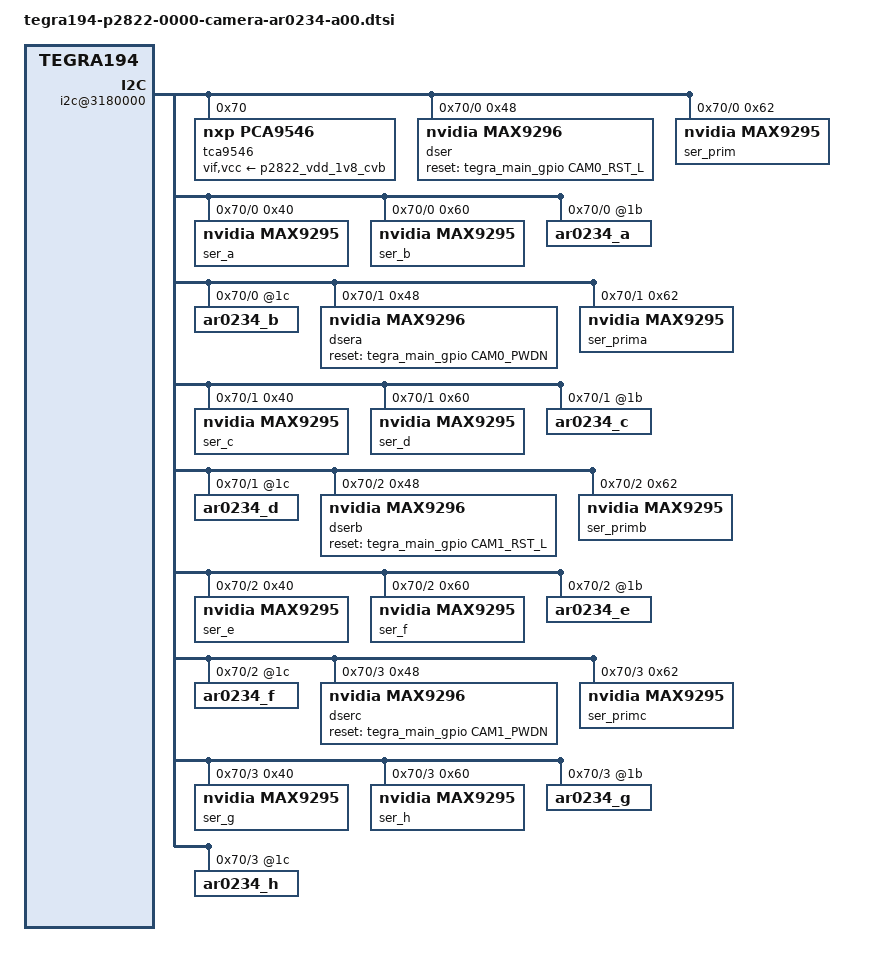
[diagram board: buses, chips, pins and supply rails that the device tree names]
/*
 * Copyright (c) 2018-2021, NVIDIA CORPORATION.  All rights reserved.
 *
 * This program is free software; you can redistribute it and/or modify
 * it under the terms of the GNU General Public License as published by
 * the Free Software Foundation; either version 2 of the License, or
 * (at your option) any later version.
 *
 * This program is distributed in the hope that it will be useful, but WITHOUT
 * ANY WARRANTY; without even the implied warranty of MERCHANTABILITY or
 * FITNESS FOR A PARTICULAR PURPOSE.  See the GNU General Public License for
 * more details.
 *
 * You should have received a copy of the GNU General Public License
 * along with this program.  If not, see <http://www.gnu.org/licenses/>.
 */
#include <t19x-common-modules/tegra194-camera-ar0234-a00.dtsi>
#include "dt-bindings/clock/tegra194-clock.h"

#define CAM0_RST_L	TEGRA194_MAIN_GPIO(H, 3)
#define CAM0_PWDN	TEGRA194_MAIN_GPIO(H, 6)
#define CAM1_RST_L	TEGRA194_MAIN_GPIO(T, 6)
#define CAM1_PWDN	TEGRA194_MAIN_GPIO(T, 5)
#define CAMERA_I2C_MUX_BUS(x) (0x1E + x)

/* camera control gpio definitions */

/ {
	i2c@3180000 {
		tca9546@70 {
			compatible = "nxp,pca9546";
			reg = <0x70>;
			#address-cells = <1>;
			#size-cells = <0>;
			skip_mux_detect = "yes";
			vif-supply = <&p2822_vdd_1v8_cvb>;
			vcc-supply = <&p2822_vdd_1v8_cvb>;
			vcc_lp = "vcc";
			force_bus_start = <CAMERA_I2C_MUX_BUS(0)>;

			i2c@0 {
				reg = <0>;
				i2c-mux,deselect-on-exit;
				#address-cells = <1>;
				#size-cells = <0>;
				dser: max9296@48 {
					compatible = "nvidia,max9296";
					reg = <0x48>;
					csi-mode = "2x4";
					max-src = <2>;
					reset-gpios = <&tegra_main_gpio CAM0_RST_L GPIO_ACTIVE_HIGH>;
				};
				ser_prim: max9295_prim@62 {
					compatible = "nvidia,max9295";
					reg = <0x62>;
					is-prim-ser;
				};
				ser_a: max9295_a@40 {
					compatible = "nvidia,max9295";
					reg = <0x40>;
					nvidia,gmsl-dser-device = <&dser>;
				};
				ser_b: max9295_b@60 {
					compatible = "nvidia,max9295";
					reg = <0x60>;
					nvidia,gmsl-dser-device = <&dser>;
				};
				ar0234_a@1b {
					def-addr = <0x18>;
					/* Define any required hw resources needed by driver */
					/* ie. clocks, io pins, power sources */
					clocks = <&bpmp_clks TEGRA194_CLK_EXTPERIPH1>,
							<&bpmp_clks TEGRA194_CLK_EXTPERIPH1>;
					clock-names = "extperiph1", "pllp_grtba";
					mclk = "extperiph1";
					nvidia,gmsl-ser-device = <&ser_a>;
					nvidia,gmsl-dser-device = <&dser>;
				};
				ar0234_b@1c {
					def-addr = <0x18>;
					/* Define any required hw resources needed by driver */
					/* ie. clocks, io pins, power sources */
					clocks = <&bpmp_clks TEGRA194_CLK_EXTPERIPH1>,
							<&bpmp_clks TEGRA194_CLK_EXTPERIPH1>;
					clock-names = "extperiph1", "pllp_grtba";
					mclk = "extperiph1";
					nvidia,gmsl-ser-device = <&ser_b>;
					nvidia,gmsl-dser-device = <&dser>;
				};
			};
			i2c@1 {
				reg = <1>;
				i2c-mux,deselect-on-exit;
				#address-cells = <1>;
				#size-cells = <0>;
				dsera: max9296@48 {
					compatible = "nvidia,max9296";
					reg = <0x48>;
					csi-mode = "2x4";
					max-src = <2>;
					reset-gpios = <&tegra_main_gpio CAM0_PWDN GPIO_ACTIVE_HIGH>;
				};
				ser_prima: max9295_prim@62 {
					compatible = "nvidia,max9295";
					reg = <0x62>;
					is-prim-ser;
				};
				ser_c: max9295_a@40 {
					compatible = "nvidia,max9295";
					reg = <0x40>;
					nvidia,gmsl-dser-device = <&dsera>;
				};
				ser_d: max9295_b@60 {
					compatible = "nvidia,max9295";
					reg = <0x60>;
					nvidia,gmsl-dser-device = <&dsera>;
				};
				ar0234_c@1b {
					def-addr = <0x18>;
					/* Define any required hw resources needed by driver */
					/* ie. clocks, io pins, power sources */
					clocks = <&bpmp_clks TEGRA194_CLK_EXTPERIPH1>,
							<&bpmp_clks TEGRA194_CLK_EXTPERIPH1>;
					clock-names = "extperiph1", "pllp_grtba";
					mclk = "extperiph1";
					nvidia,gmsl-ser-device = <&ser_c>;
					nvidia,gmsl-dser-device = <&dsera>;
				};
				ar0234_d@1c {
					def-addr = <0x18>;
					/* Define any required hw resources needed by driver */
					/* ie. clocks, io pins, power sources */
					clocks = <&bpmp_clks TEGRA194_CLK_EXTPERIPH1>,
							<&bpmp_clks TEGRA194_CLK_EXTPERIPH1>;
					clock-names = "extperiph1", "pllp_grtba";
					mclk = "extperiph1";
					nvidia,gmsl-ser-device = <&ser_d>;
					nvidia,gmsl-dser-device = <&dsera>;
				};
			};
			i2c@2 {
				reg = <2>;
				i2c-mux,deselect-on-exit;
				#address-cells = <1>;
				#size-cells = <0>;
				dserb: max9296@48 {
					compatible = "nvidia,max9296";
					reg = <0x48>;
					csi-mode = "2x4";
					max-src = <2>;
					reset-gpios = <&tegra_main_gpio CAM1_RST_L GPIO_ACTIVE_HIGH>;
				};
				ser_primb: max9295_prim@62 {
					compatible = "nvidia,max9295";
					reg = <0x62>;
					is-prim-ser;
				};
				ser_e: max9295_a@40 {
					compatible = "nvidia,max9295";
					reg = <0x40>;
					nvidia,gmsl-dser-device = <&dserb>;
				};
				ser_f: max9295_b@60 {
					compatible = "nvidia,max9295";
					reg = <0x60>;
					nvidia,gmsl-dser-device = <&dserb>;
				};
				ar0234_e@1b {
					def-addr = <0x18>;
					/* Define any required hw resources needed by driver */
					/* ie. clocks, io pins, power sources */
					clocks = <&bpmp_clks TEGRA194_CLK_EXTPERIPH1>,
							<&bpmp_clks TEGRA194_CLK_EXTPERIPH1>;
					clock-names = "extperiph1", "pllp_grtba";
					mclk = "extperiph1";
					nvidia,gmsl-ser-device = <&ser_e>;
					nvidia,gmsl-dser-device = <&dserb>;
				};
				ar0234_f@1c {
					def-addr = <0x18>;
					/* Define any required hw resources needed by driver */
					/* ie. clocks, io pins, power sources */
					clocks = <&bpmp_clks TEGRA194_CLK_EXTPERIPH1>,
							<&bpmp_clks TEGRA194_CLK_EXTPERIPH1>;
					clock-names = "extperiph1", "pllp_grtba";
					mclk = "extperiph1";
					nvidia,gmsl-ser-device = <&ser_f>;
					nvidia,gmsl-dser-device = <&dserb>;
				};
			};
			i2c@3 {
				reg = <3>;
				i2c-mux,deselect-on-exit;
				#address-cells = <1>;
				#size-cells = <0>;
				dserc: max9296@48 {
					compatible = "nvidia,max9296";
					reg = <0x48>;
					csi-mode = "2x4";
					max-src = <2>;
					reset-gpios = <&tegra_main_gpio CAM1_PWDN GPIO_ACTIVE_HIGH>;
				};
				ser_primc: max9295_prim@62 {
					compatible = "nvidia,max9295";
					reg = <0x62>;
					is-prim-ser;
				};
				ser_g: max9295_a@40 {
					compatible = "nvidia,max9295";
					reg = <0x40>;
					nvidia,gmsl-dser-device = <&dserc>;
				};
				ser_h: max9295_b@60 {
					compatible = "nvidia,max9295";
					reg = <0x60>;
					nvidia,gmsl-dser-device = <&dserc>;
				};
				ar0234_g@1b {
					def-addr = <0x18>;
					/* Define any required hw resources needed by driver */
					/* ie. clocks, io pins, power sources */
					clocks = <&bpmp_clks TEGRA194_CLK_EXTPERIPH1>,
							<&bpmp_clks TEGRA194_CLK_EXTPERIPH1>;
					clock-names = "extperiph1", "pllp_grtba";
					mclk = "extperiph1";
					nvidia,gmsl-ser-device = <&ser_g>;
					nvidia,gmsl-dser-device = <&dserc>;
				};
				ar0234_h@1c {
					def-addr = <0x18>;
					/* Define any required hw resources needed by driver */
					/* ie. clocks, io pins, power sources */
					clocks = <&bpmp_clks TEGRA194_CLK_EXTPERIPH1>,
							<&bpmp_clks TEGRA194_CLK_EXTPERIPH1>;
					clock-names = "extperiph1", "pllp_grtba";
					mclk = "extperiph1";
					nvidia,gmsl-ser-device = <&ser_h>;
					nvidia,gmsl-dser-device = <&dserc>;
				};
			};
		};
	};
};
